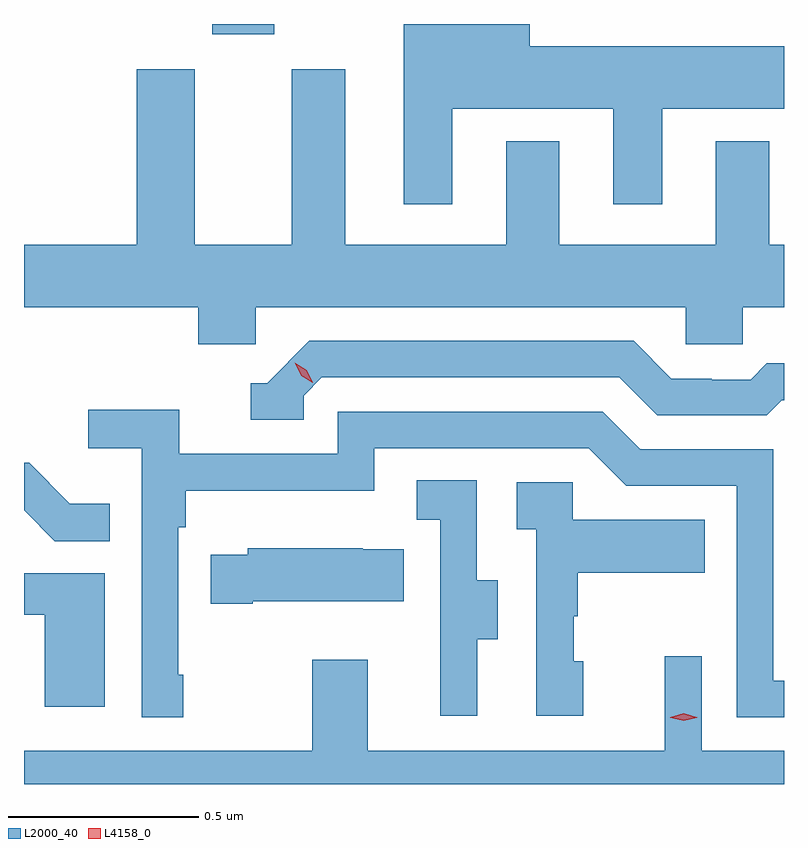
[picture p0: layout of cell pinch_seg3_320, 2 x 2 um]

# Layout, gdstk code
import gdstk
lib = gdstk.Library(unit=1e-6, precision=1e-09)
def R(c, l, rs):  # rectangles x0, y0, x1, y1
    for r in rs: c.add(gdstk.rectangle(r[:2], r[2:], *l))
def P(c, l, *ps):  # polygons
    for p in ps: c.add(gdstk.Polygon(p, *l))
L2000_40 = (2000, 40)
L4158_0 = (4158, 0)

pinch_seg3_320 = lib.new_cell('pinch_seg3_320')
R(pinch_seg3_320, L2000_40, [(993.623,709.626,993.787,709.653)])
P(pinch_seg3_320, L2000_40, [(994.255,709.43),(994.679,709.43),(994.679,709.179),(994.807,709.179),(994.807,709.43),(995.128,709.43),(995.128,709.594),(994.459,709.594),(994.459,709.653),(994.127,709.653),(994.127,709.179),(994.255,709.179)],
  [(993.738,708.908),(994.869,708.908),(994.869,708.81),(995.019,708.81),(995.019,708.908),(995.128,708.908),(995.128,709.072),(995.089,709.072),(995.089,709.345),(994.949,709.345),(994.949,709.072),(994.537,709.072),(994.537,709.345),(994.397,709.345),(994.397,709.072),(993.973,709.072),(993.973,709.534),(993.833,709.534),(993.833,709.072),(993.577,709.072),(993.577,709.534),(993.425,709.534),(993.425,709.072),(993.128,709.072),(993.128,708.908),(993.587,708.908),(993.587,708.81),(993.738,708.81)],
  [(993.864,708.675),(993.912,708.723),(994.695,708.723),(994.794,708.624),(995.083,708.624),(995.122,708.663),(995.128,708.663),(995.128,708.76),(995.083,708.76),(995.041,708.717),(994.938,708.717),(994.938,708.72),(994.831,708.72),(994.732,708.819),(993.879,708.819),(993.768,708.708),(993.725,708.708),(993.725,708.612),(993.864,708.612)],
  [(993.547,707.941),(993.534,707.941),(993.534,708.329),(993.554,708.329),(993.554,708.425),(994.05,708.425),(994.05,708.537),(994.614,708.537),(994.713,708.438),(995.004,708.438),(995.004,707.829),(995.128,707.829),(995.128,707.925),(995.1,707.925),(995.1,708.534),(994.75,708.534),(994.651,708.633),(993.954,708.633),(993.954,708.522),(993.536,708.522),(993.536,708.638),(993.297,708.638),(993.297,708.536),(993.438,708.536),(993.438,707.829),(993.547,707.829)],
  [(993.353,708.391),(993.249,708.391),(993.142,708.498),(993.128,708.498),(993.128,708.373),(993.209,708.292),(993.353,708.292)],
  [(994.321,708.034),(994.375,708.034),(994.375,708.189),(994.32,708.189),(994.32,708.452),(994.161,708.452),(994.161,708.349),(994.224,708.349),(994.224,708.045),(994.223,708.045),(994.223,707.832),(994.321,707.832)],
  [(994.6,707.976),(994.575,707.976),(994.575,708.095),(994.585,708.095),(994.585,708.209),(994.919,708.209),(994.919,708.349),(994.572,708.349),(994.572,708.447),(994.425,708.447),(994.425,708.323),(994.476,708.323),(994.476,707.832),(994.6,707.832)],
  [(993.73,708.134),(994.127,708.134),(994.127,708.271),(994.019,708.271),(994.019,708.274),(993.717,708.274),(993.717,708.256),(993.619,708.256),(993.619,708.127),(993.73,708.127)],
  [(993.34,708.207),(993.128,708.207),(993.128,708.099),(993.182,708.099),(993.182,707.856),(993.34,707.856)],
  [(995.128,707.74),(994.911,707.74),(994.911,707.989),(994.814,707.989),(994.814,707.74),(994.033,707.74),(994.033,707.98),(993.886,707.98),(993.886,707.74),(993.128,707.74),(993.128,707.653),(995.128,707.653)])
P(pinch_seg3_320, L4158_0, [(994.864,707.819),(994.829,707.828),(994.828,707.829),(994.829,707.829),(994.864,707.839),(994.899,707.829),(994.9,707.829),(994.899,707.828)],
  [(993.888,708.709),(993.857,708.728),(993.841,708.761),(993.841,708.761),(993.841,708.761),(993.872,708.742),(993.888,708.709),(993.888,708.709)])

lib.write_gds('pinch_seg3_320.gds')
